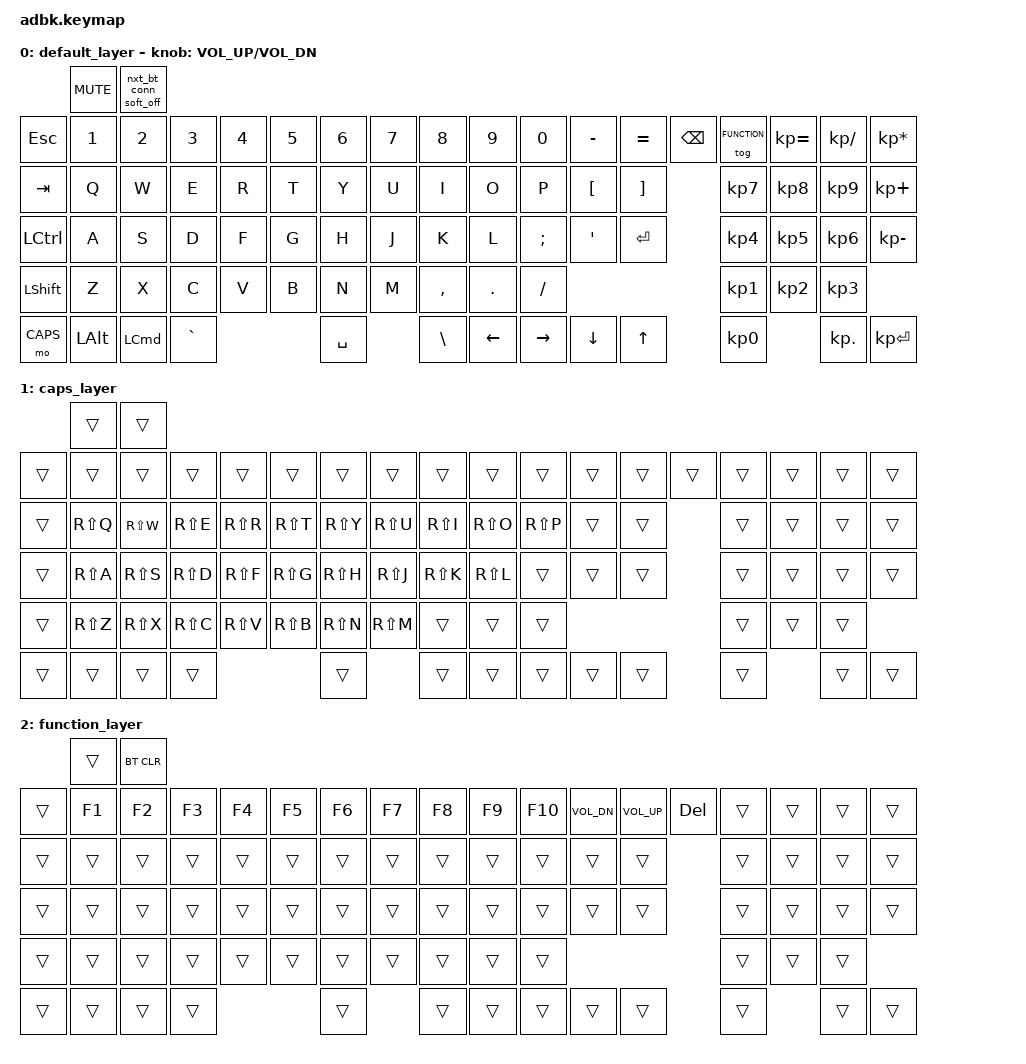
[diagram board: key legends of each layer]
#include <dt-bindings/zmk/keys.h>
#include <behaviors.dtsi>
#include <dt-bindings/zmk/bt.h>

#define DEFAULT     0
#define CAPS        1
#define FUNCTION    2

&digital_crown {
    status = "okay";
};

/ {
    behaviors {
        pwrbtn: pwrbtn {
            compatible = "zmk,behavior-hold-tap";
            #binding-cells = <2>;
            flavor = "hold-preferred";
            tapping-term-ms = <2000>;
            bindings = <&soft_off>, <&nxt_bt_conn>;
        };
    };

    macros {
        nxt_bt_conn: nxt_bt_conn {
            compatible = "zmk,behavior-macro";
            #binding-cells = <0>;
            bindings = <&bt BT_NXT>;
        };
    };

    sensors {
        compatible = "zmk,keymap-sensors";
        sensors = <&digital_crown>;
    };

    keymap {
        compatible = "zmk,keymap";
        default_layer {
            bindings = <
                &kp C_MUTE  &pwrbtn 0 0
    &kp ESC     &kp N1      &kp N2      &kp N3      &kp N4      &kp N5      &kp N6      &kp N7      &kp N8      &kp N9      &kp N0      &kp MINUS   &kp EQUAL       &kp BSPC        &tog FUNCTION   &kp KP_EQUAL    &kp KP_SLASH    &kp KP_ASTERISK
    &kp TAB     &kp Q       &kp W       &kp E       &kp R       &kp T       &kp Y       &kp U       &kp I       &kp O       &kp P       &kp LBKT    &kp RBKT                        &kp KP_N7       &kp KP_N8       &kp KP_N9       &kp KP_PLUS
    &kp LCTRL   &kp A       &kp S       &kp D       &kp F       &kp G       &kp H       &kp J       &kp K       &kp L       &kp SEMI    &kp APOS    &kp RET                         &kp KP_N4       &kp KP_N5       &kp KP_N6       &kp KP_MINUS
    &kp LSHIFT  &kp Z       &kp X       &kp C       &kp V       &kp B       &kp N       &kp M       &kp COMMA   &kp DOT     &kp FSLH                                                &kp KP_N1       &kp KP_N2       &kp KP_N3  
    &mo CAPS    &kp LALT    &kp LCMD    &kp GRAVE                           &kp SPACE               &kp BSLH    &kp LEFT    &kp RIGHT   &kp DOWN    &kp UP                          &kp KP_N0                       &kp KP_DOT      &kp KP_ENTER
    >;
        sensor-bindings = <&inc_dec_kp C_VOL_UP C_VOL_DN>;
        };

        caps_layer {
            bindings = <
                &trans      &trans  
    &trans      &trans      &trans      &trans      &trans      &trans      &trans      &trans      &trans      &trans      &trans       &trans         &trans          &trans       &trans     &trans      &trans      &trans
    &trans      &kp RS(Q)   &kp RS(W)   &kp RS(E)   &kp RS(R)   &kp RS(T)   &kp RS(Y)   &kp RS(U)   &kp RS(I)   &kp RS(O)   &kp RS(P)    &trans         &trans                       &trans     &trans      &trans      &trans
    &trans      &kp RS(A)   &kp RS(S)   &kp RS(D)   &kp RS(F)   &kp RS(G)   &kp RS(H)   &kp RS(J)   &kp RS(K)   &kp RS(L)   &trans       &trans         &trans                       &trans     &trans      &trans      &trans
    &trans      &kp RS(Z)   &kp RS(X)   &kp RS(C)   &kp RS(V)   &kp RS(B)   &kp RS(N)   &kp RS(M)   &trans      &trans      &trans                                                   &trans     &trans      &trans    
    &trans      &trans      &trans      &trans                              &trans                  &trans      &trans      &trans       &trans         &trans                       &trans                 &trans      &trans 
    >;
        };

        function_layer {
            bindings = <
                &trans      &bt BT_CLR 
    &trans      &kp F1      &kp F2      &kp F3      &kp F4      &kp F5      &kp F6      &kp F7      &kp F8      &kp F9      &kp F10      &kp C_VOL_DN   &kp C_VOL_UP    &kp DELETE   &trans     &trans      &trans      &trans
    &trans      &trans      &trans      &trans      &trans      &trans      &trans      &trans      &trans      &trans      &trans       &trans         &trans                       &trans     &trans      &trans      &trans 
    &trans      &trans      &trans      &trans      &trans      &trans      &trans      &trans      &trans      &trans      &trans       &trans         &trans                       &trans     &trans      &trans      &trans 
    &trans      &trans      &trans      &trans      &trans      &trans      &trans      &trans      &trans      &trans      &trans                                                   &trans     &trans      &trans   
    &trans      &trans      &trans      &trans                              &trans                  &trans      &trans      &trans       &trans         &trans                       &trans                 &trans      &trans 
    >;
        };
    };
};
